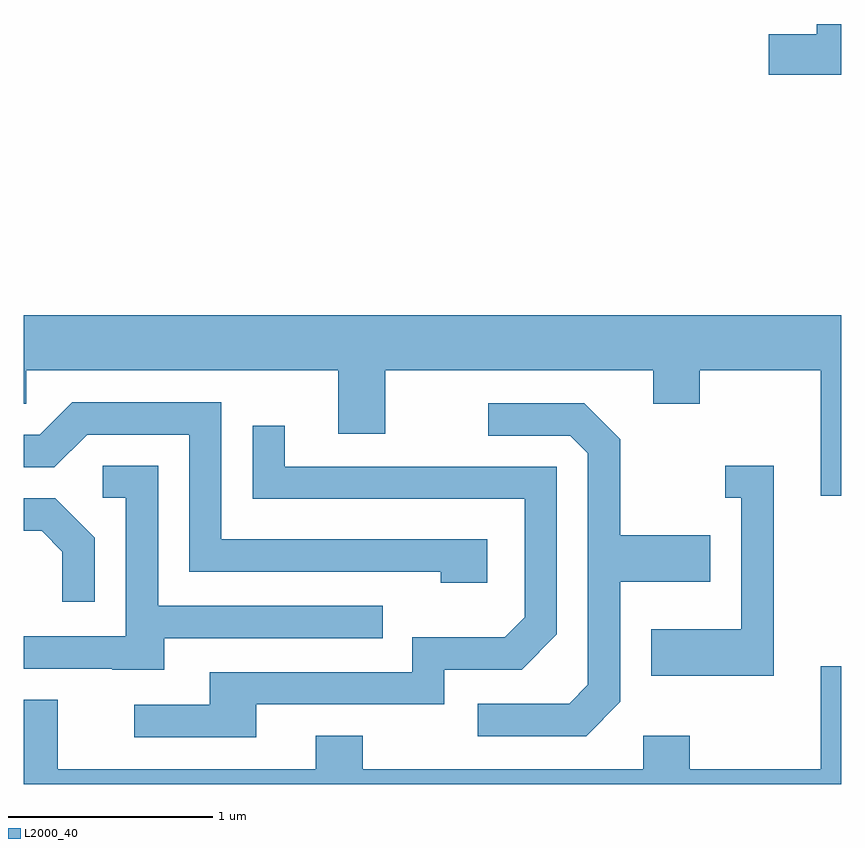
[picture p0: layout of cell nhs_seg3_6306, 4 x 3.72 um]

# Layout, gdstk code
import gdstk
lib = gdstk.Library(unit=1e-6, precision=1e-09)
def P(c, l, *ps):  # polygons
    for p in ps: c.add(gdstk.Polygon(p, *l))
L2000_40 = (2000, 40)

nhs_seg3_6306 = lib.new_cell('nhs_seg3_6306')
P(nhs_seg3_6306, L2000_40, [(373.611,1227.609),(373.491,1227.609),(373.491,1227.559),(373.256,1227.559),(373.256,1227.361),(373.611,1227.361)],
  [(373.611,1226.184),(369.611,1226.184),(369.611,1225.751),(369.624,1225.751),(369.624,1225.916),(371.151,1225.916),(371.151,1225.606),(371.379,1225.606),(371.379,1225.916),(372.691,1225.916),(372.691,1225.751),(372.919,1225.751),(372.919,1225.916),(373.511,1225.916),(373.511,1225.301),(373.611,1225.301)],
  [(371.879,1225.089),(370.579,1225.089),(370.579,1225.759),(369.849,1225.759),(369.689,1225.599),(369.611,1225.599),(369.611,1225.441),(369.762,1225.441),(369.922,1225.601),(370.421,1225.601),(370.421,1224.931),(371.651,1224.931),(371.651,1224.876),(371.879,1224.876)],
  [(372.529,1224.294),(372.529,1224.881),(372.969,1224.881),(372.969,1225.109),(372.529,1225.109),(372.529,1225.577),(372.352,1225.754),(371.883,1225.754),(371.883,1225.596),(372.284,1225.596),(372.371,1225.509),(372.371,1224.377),(372.279,1224.284),(371.833,1224.284),(371.833,1224.126),(372.362,1224.126)],
  [(370.749,1224.281),(371.669,1224.281),(371.669,1224.451),(372.047,1224.451),(372.219,1224.624),(372.219,1225.444),(370.889,1225.444),(370.889,1225.643),(370.731,1225.643),(370.731,1225.286),(372.061,1225.286),(372.061,1224.707),(371.964,1224.609),(371.511,1224.609),(371.511,1224.439),(370.521,1224.439),(370.521,1224.279),(370.153,1224.279),(370.153,1224.121),(370.749,1224.121)],
  [(373.279,1225.449),(373.043,1225.449),(373.043,1225.291),(373.121,1225.291),(373.121,1224.649),(372.681,1224.649),(372.681,1224.421),(373.279,1224.421)],
  [(370.299,1224.606),(371.368,1224.606),(371.368,1224.764),(370.269,1224.764),(370.269,1225.449),(369.998,1225.449),(369.998,1225.291),(370.111,1225.291),(370.111,1224.614),(369.611,1224.614),(369.611,1224.456),(370.045,1224.456),(370.045,1224.451),(370.299,1224.451)],
  [(369.959,1225.097),(369.767,1225.289),(369.611,1225.289),(369.611,1225.131),(369.699,1225.131),(369.801,1225.029),(369.801,1224.783),(369.959,1224.783)],
  [(373.611,1224.469),(373.511,1224.469),(373.511,1223.964),(372.869,1223.964),(372.869,1224.129),(372.641,1224.129),(372.641,1223.964),(371.269,1223.964),(371.269,1224.129),(371.041,1224.129),(371.041,1223.964),(369.779,1223.964),(369.779,1224.304),(369.611,1224.304),(369.611,1223.892),(373.611,1223.892)])

lib.write_gds('nhs_seg3_6306.gds')
